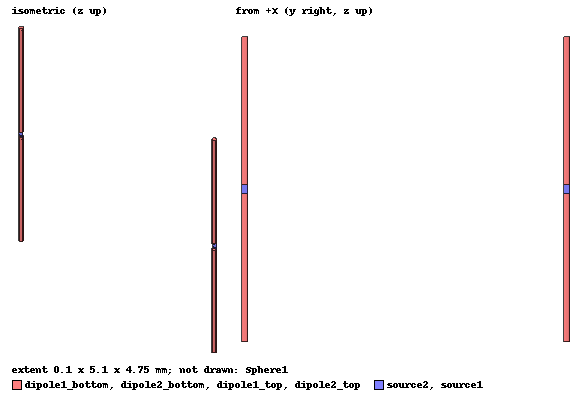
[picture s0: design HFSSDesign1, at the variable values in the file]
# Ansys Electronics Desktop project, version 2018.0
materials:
  vacuum: permittivity=1
  pec: conductivity=1e+030

design HFSSDesign1 (HFSS, DrivenModal, model units mm)
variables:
  lambda = 10mm
  dip_rad = lambda/200
  radiation_rad = dipole_spacing*4
  gap_src = 0.125mm
  res_length = 0.475*lambda
  dip_length = res_length/2-(gap_src/2)
  radiation_height = gap_src/2 + dip_length + lambda/10
  dipole_spacing = .5*lambda
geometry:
  dipole1_top [pec] = cylinder(axis=Z, base_centre=(0mm, 0mm, gap_src/2), radius=dip_rad, height=dip_length)
  dipole1_bottom [pec] = dipole1_top.duplicate_around_axis(axis=X, angle=180deg, total=2)
  source1 = rectangle(corner=(0mm, -dip_rad, -gap_src/2), y_size=dip_rad*2, z_size=gap_src)
  dipole2_top [pec] = cylinder(axis=Z, base_centre=(0mm, 0mm, gap_src/2), radius=dip_rad, height=dip_length)
  dipole2_bottom [pec] = dipole2_top.duplicate_around_axis(axis=X, angle=180deg, total=2)
  [dipole2_bottom, dipole2_top].move(0mm, dipole_spacing, 0mm)
  Sphere1 [vacuum] = sphere(centre=(0mm, 0.25*lambda, 0mm), radius=radiation_rad)
  source2 = rectangle(corner=(0mm, -dip_rad, -gap_src/2), y_size=dip_rad*2, z_size=gap_src)
  source2.move(0mm, dipole_spacing, 0mm)
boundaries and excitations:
  Rad1: Radiation Faces=Sphere1.face(1 of 1)
  1: Lumped Port Objects=source1 Modes{Mode1{IntLine{middle of source1.edge(z at corner) -> middle of source1.edge(z opposite corner)} CharImp=Zpi RenormImp=50ohm}} Impedance=50ohm
  2: Lumped Port Objects=source2 Modes{Mode1{IntLine{middle of source2.edge(z at corner) -> middle of source2.edge(z opposite corner)} CharImp=Zpi RenormImp=50ohm}} Impedance=50ohm
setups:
  Setup1: HfssDriven Frequency=29.9792GHz MaxDeltaS=0.02 MaximumPasses=20 MinimumPasses=1 MinimumConvergedPasses=1 PercentRefinement=30 BasisOrder=1 PortAccuracy=2
    sweep Sweep: 25GHz to 35GHz, 1000 points; Type=Fast SaveFields
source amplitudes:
  1:1: 3W 45deg
  2:1: 3W 90deg
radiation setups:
  Infinite Sphere1: Infinite Sphere Theta=-180deg..180deg step 1deg Phi=0deg..90deg step 90deg
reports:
  XY Plot 1: dB(S(1,1)) vs Freq on Setup1 : Sweep; markers m1 at 29.704705GHz
  Radiation Pattern 1: GainTotal vs Theta on Setup1 : LastAdaptive, Infinite Sphere1 [Phi=all Freq=29.9792GHz]
  3D Polar Plot 1: GainTotal vs Phi, Theta on Setup1 : LastAdaptive, Infinite Sphere1 [Freq=29.9792GHz]
